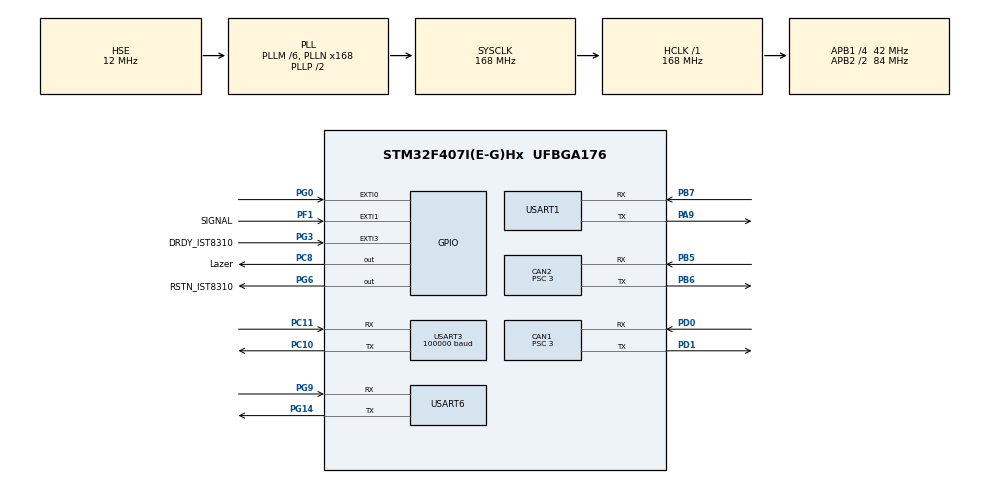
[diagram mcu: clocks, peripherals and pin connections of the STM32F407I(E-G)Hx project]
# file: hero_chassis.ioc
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CAN1.BS1=CAN_BS1_10TQ
CAN1.BS2=CAN_BS2_3TQ
CAN1.CalculateBaudRate=1000000
CAN1.CalculateTimeBit=1000
CAN1.CalculateTimeQuantum=71.42857142857143
CAN1.Prescaler=3
CAN1.TXFP=DISABLE
CAN2.BS1=CAN_BS1_10TQ
CAN2.BS2=CAN_BS2_3TQ
CAN2.CalculateBaudRate=1000000
CAN2.CalculateTimeBit=1000
CAN2.CalculateTimeQuantum=71.42857142857143
CAN2.Prescaler=3
CAN2.TXFP=DISABLE
Dma.Request0=USART1_TX
Dma.Request1=USART3_RX
Dma.Request2=USART1_RX
Dma.Request3=USART6_RX
Dma.Request4=USART6_TX
Dma.USART1_RX.2.Direction=DMA_PERIPH_TO_MEMORY
Dma.USART1_RX.2.FIFOMode=DMA_FIFOMODE_DISABLE
Dma.USART1_RX.2.Instance=DMA2_Stream5
Dma.USART1_RX.2.MemDataAlignment=DMA_MDATAALIGN_BYTE
Dma.USART1_RX.2.MemInc=DMA_MINC_ENABLE
Dma.USART1_RX.2.Mode=DMA_CIRCULAR
Dma.USART1_RX.2.PeriphDataAlignment=DMA_PDATAALIGN_BYTE
Dma.USART1_RX.2.PeriphInc=DMA_PINC_DISABLE
Dma.USART1_RX.2.Priority=DMA_PRIORITY_HIGH
Dma.USART1_TX.0.Direction=DMA_MEMORY_TO_PERIPH
Dma.USART1_TX.0.FIFOMode=DMA_FIFOMODE_DISABLE
Dma.USART1_TX.0.Instance=DMA2_Stream7
Dma.USART1_TX.0.MemDataAlignment=DMA_MDATAALIGN_BYTE
Dma.USART1_TX.0.MemInc=DMA_MINC_ENABLE
Dma.USART1_TX.0.Mode=DMA_NORMAL
Dma.USART1_TX.0.PeriphDataAlignment=DMA_PDATAALIGN_BYTE
Dma.USART1_TX.0.PeriphInc=DMA_PINC_DISABLE
Dma.USART1_TX.0.Priority=DMA_PRIORITY_HIGH
Dma.USART3_RX.1.Direction=DMA_PERIPH_TO_MEMORY
Dma.USART3_RX.1.FIFOMode=DMA_FIFOMODE_DISABLE
Dma.USART3_RX.1.Instance=DMA1_Stream1
Dma.USART3_RX.1.MemDataAlignment=DMA_MDATAALIGN_BYTE
Dma.USART3_RX.1.MemInc=DMA_MINC_ENABLE
Dma.USART3_RX.1.Mode=DMA_CIRCULAR
Dma.USART3_RX.1.PeriphDataAlignment=DMA_PDATAALIGN_BYTE
Dma.USART3_RX.1.PeriphInc=DMA_PINC_DISABLE
Dma.USART3_RX.1.Priority=DMA_PRIORITY_HIGH
Dma.USART6_RX.3.Direction=DMA_PERIPH_TO_MEMORY
Dma.USART6_RX.3.FIFOMode=DMA_FIFOMODE_DISABLE
Dma.USART6_RX.3.Instance=DMA2_Stream1
Dma.USART6_RX.3.MemDataAlignment=DMA_MDATAALIGN_BYTE
Dma.USART6_RX.3.MemInc=DMA_MINC_ENABLE
Dma.USART6_RX.3.Mode=DMA_NORMAL
Dma.USART6_RX.3.PeriphDataAlignment=DMA_PDATAALIGN_BYTE
Dma.USART6_RX.3.PeriphInc=DMA_PINC_DISABLE
Dma.USART6_RX.3.Priority=DMA_PRIORITY_HIGH
Dma.USART6_TX.4.Direction=DMA_MEMORY_TO_PERIPH
Dma.USART6_TX.4.FIFOMode=DMA_FIFOMODE_DISABLE
Dma.USART6_TX.4.Instance=DMA2_Stream6
Dma.USART6_TX.4.MemDataAlignment=DMA_MDATAALIGN_BYTE
Dma.USART6_TX.4.MemInc=DMA_MINC_ENABLE
Dma.USART6_TX.4.Mode=DMA_NORMAL
Dma.USART6_TX.4.PeriphDataAlignment=DMA_PDATAALIGN_BYTE
Dma.USART6_TX.4.PeriphInc=DMA_PINC_DISABLE
Dma.USART6_TX.4.Priority=DMA_PRIORITY_MEDIUM
FREERTOS.INCLUDE_eTaskGetState=1
FREERTOS.INCLUDE_pcTaskGetTaskName=1
FREERTOS.INCLUDE_uxTaskGetStackHighWaterMark=1
FREERTOS.INCLUDE_vTaskCleanUpResources=1
FREERTOS.INCLUDE_vTaskDelayUntil=1
FREERTOS.INCLUDE_xEventGroupSetBitFromISR=1
FREERTOS.INCLUDE_xQueueGetMutexHolder=1
FREERTOS.INCLUDE_xSemaphoreGetMutexHolder=1
FREERTOS.INCLUDE_xTaskAbortDelay=1
FREERTOS.INCLUDE_xTaskGetCurrentTaskHandle=1
FREERTOS.INCLUDE_xTaskGetHandle=1
FREERTOS.INCLUDE_xTimerPendFunctionCall=1
FREERTOS.Tasks01=test,0,128,test_task,As weak,NULL,Dynamic,NULL,NULL;ShowRunningTask,3,128,ShowRunningFun,As weak,NULL,Dynamic,NULL,NULL;ChassisTask,2,128,ChassisFun,As weak,NULL,Dynamic,NULL,NULL;OutControlTask,1,128,OutControlFun,As weak,NULL,Dynamic,NULL,NULL;GimbalTask,2,128,GimbalFun,As weak,NULL,Dynamic,NULL,NULL;ShootTask,2,128,ShootFun,As weak,NULL,Dynamic,NULL,NULL;Info_Transmit,2,1024,Info_Transmit_task,As weak,NULL,Dynamic,NULL,NULL
FREERTOS.configTOTAL_HEAP_SIZE=24576
Mcu.Family=STM32F4
Mcu.Name=STM32F407I(E-G)Hx
Mcu.Package=UFBGA176
NVIC.CAN1_RX0_IRQn=true\:5\:0\:false\:false\:true\:true\:true\:true\:true
NVIC.CAN2_RX0_IRQn=true\:5\:0\:false\:false\:true\:true\:true\:true\:true
NVIC.DMA1_Stream1_IRQn=true\:5\:0\:false\:false\:true\:true\:false\:true\:true
NVIC.DMA2_Stream1_IRQn=true\:5\:0\:false\:false\:true\:true\:false\:true\:true
NVIC.DMA2_Stream5_IRQn=true\:5\:0\:false\:false\:true\:true\:false\:true\:true
NVIC.DMA2_Stream6_IRQn=true\:5\:0\:false\:false\:true\:true\:false\:true\:true
NVIC.DMA2_Stream7_IRQn=true\:5\:0\:false\:false\:true\:true\:false\:true\:true
NVIC.EXTI0_IRQn=true\:6\:0\:true\:false\:true\:true\:true\:true\:true
NVIC.EXTI1_IRQn=true\:5\:0\:false\:false\:true\:true\:true\:true\:true
NVIC.EXTI3_IRQn=true\:5\:0\:true\:false\:true\:true\:true\:true\:true
NVIC.PriorityGroup=NVIC_PRIORITYGROUP_4
NVIC.TIM1_UP_TIM10_IRQn=true\:0\:0\:false\:false\:true\:false\:false\:true\:true
NVIC.TIM6_DAC_IRQn=true\:5\:0\:false\:false\:true\:true\:true\:true\:true
NVIC.TimeBase=TIM1_UP_TIM10_IRQn
NVIC.TimeBaseIP=TIM1
NVIC.USART1_IRQn=true\:5\:0\:false\:false\:true\:true\:true\:true\:true
NVIC.USART3_IRQn=true\:5\:0\:false\:false\:true\:true\:true\:true\:true
NVIC.USART6_IRQn=true\:5\:0\:false\:false\:true\:true\:true\:true\:true
PA13.Mode=Serial_Wire
PA13.Signal=SYS_JTMS-SWDIO
PA14.Mode=Serial_Wire
PA14.Signal=SYS_JTCK-SWCLK
PA6.Signal=ADCx_IN6
PA7.GPIO_PuPd=GPIO_PULLUP
PA7.Signal=SPI1_MOSI
PA8.GPIO_Pu=GPIO_PULLUP
PA8.Signal=I2C3_SCL
PA9.Mode=Asynchronous
PA9.Signal=USART1_TX
PB3.Signal=SPI1_SCK
PB4.Signal=SPI1_MISO
PB5.Mode=CAN_Activate
PB5.Signal=CAN2_RX
PB6.Mode=CAN_Activate
PB6.Signal=CAN2_TX
PB7.Mode=Asynchronous
PB7.Signal=USART1_RX
PC10.Mode=Asynchronous
PC10.Signal=USART3_TX
PC11.Mode=Asynchronous
PC11.Signal=USART3_RX
PC6.Signal=S_TIM8_CH1
PC8.GPIO_Label=Lazer
PC8.PinState=GPIO_PIN_SET
PC8.Signal=GPIO_Output
PC9.GPIO_Pu=GPIO_PULLUP
PC9.Signal=I2C3_SDA
PD0.Mode=CAN_Activate
PD0.Signal=CAN1_RX
PD1.Mode=CAN_Activate
PD1.Signal=CAN1_TX
PF1.GPIO_Label=SIGNAL
PF1.Signal=GPXTI1
PF10.Signal=ADC3_IN8
PF6.GPIO_PuPd=GPIO_PULLUP
PF6.GPIO_Speed=GPIO_SPEED_FREQ_HIGH
PF6.Signal=S_TIM10_CH1
PG0.GPIO_ModeDefaultEXTI=GPIO_MODE_IT_FALLING
PG0.GPIO_PuPd=GPIO_PULLUP
PG0.Signal=GPXTI0
PG14.Mode=Asynchronous
PG14.Signal=USART6_TX
PG3.GPIO_Label=DRDY_IST8310
PG3.GPIO_ModeDefaultEXTI=GPIO_MODE_IT_FALLING
PG3.GPIO_PuPd=GPIO_PULLUP
PG3.Signal=GPXTI3
PG6.GPIO_Label=RSTN_IST8310
PG6.GPIO_PuPd=GPIO_PULLUP
PG6.GPIO_Speed=GPIO_SPEED_FREQ_MEDIUM
PG6.PinState=GPIO_PIN_SET
PG6.Signal=GPIO_Output
PG9.Mode=Asynchronous
PG9.Signal=USART6_RX
PH0-OSC_IN.Mode=HSE-External-Oscillator
PH0-OSC_IN.Signal=RCC_OSC_IN
PH1-OSC_OUT.Mode=HSE-External-Oscillator
PH1-OSC_OUT.Signal=RCC_OSC_OUT
PH10.GPIO_Label=LED_B
PH10.GPIO_PuPd=GPIO_PULLUP
PH10.GPIO_Speed=GPIO_SPEED_FREQ_HIGH
PH10.Signal=S_TIM5_CH1
PH11.GPIO_Label=LED_G
PH11.GPIO_PuPd=GPIO_PULLUP
PH11.GPIO_Speed=GPIO_SPEED_FREQ_HIGH
PH11.Signal=S_TIM5_CH2
PH12.GPIO_Label=LED_R
PH12.GPIO_PuPd=GPIO_PULLUP
PH12.GPIO_Speed=GPIO_SPEED_FREQ_HIGH
PH12.Signal=S_TIM5_CH3
PI6.Signal=S_TIM8_CH2
PI7.Signal=S_TIM8_CH3
ProjectManager.HeapSize=0x2000
ProjectManager.StackSize=0x2000
ProjectManager.TargetToolchain=MDK-ARM V5
RCC.48MHZClocksFreq_Value=48000000
RCC.AHBFreq_Value=168000000
RCC.APB1CLKDivider=RCC_HCLK_DIV4
RCC.APB1Freq_Value=42000000
RCC.APB1TimFreq_Value=84000000
RCC.APB2CLKDivider=RCC_HCLK_DIV2
RCC.APB2Freq_Value=84000000
RCC.APB2TimFreq_Value=168000000
RCC.CortexFreq_Value=168000000
RCC.EnbaleCSS=true
RCC.HCLKFreq_Value=168000000
RCC.HSE_VALUE=12000000
RCC.HSI_VALUE=16000000
RCC.LSE_VALUE=32768
RCC.PLLM=6
RCC.PLLN=168
RCC.PLLQ=7
RCC.PLLSourceVirtual=RCC_PLLSOURCE_HSE
RCC.RCC_RTC_Clock_SourceVirtual=RCC_RTCCLKSOURCE_HSE_DIV30
RCC.RCC_RTC_Clock_Source_FROM_HSE=RCC_RTCCLKSOURCE_HSE_DIV30
RCC.SYSCLKFreq_VALUE=168000000
RCC.SYSCLKSource=RCC_SYSCLKSOURCE_PLLCLK
RCC.VCOOutputFreq_Value=336000000
SH.ADCx_IN6.0=ADC1_IN6
SH.S_TIM10_CH1.0=TIM10_CH1
SH.S_TIM5_CH1.0=TIM5_CH1
SH.S_TIM5_CH2.0=TIM5_CH2
SH.S_TIM5_CH3.0=TIM5_CH3
SH.S_TIM8_CH1.0=TIM8_CH1
SH.S_TIM8_CH2.0=TIM8_CH2
SH.S_TIM8_CH3.0=TIM8_CH3
TIM6.AutoReloadPreload=TIM_AUTORELOAD_PRELOAD_ENABLE
TIM6.Period=2499
TIM6.Prescaler=671
USART1.VirtualMode=VM_ASYNC
USART3.BaudRate=100000
USART3.Parity=PARITY_EVEN
USART3.VirtualMode=VM_ASYNC
USART3.WordLength=WORDLENGTH_9B
USART6.VirtualMode=VM_ASYNC
VP_CRC_VS_CRC.Mode=CRC_Activate
VP_FREERTOS_VS_CMSIS_V1.Mode=CMSIS_V1
VP_SYS_VS_tim1.Mode=TIM1
VP_TIM6_VS_ClockSourceINT.Mode=Enable_Timer
board=custom

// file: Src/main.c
/* USER CODE BEGIN Header */
/**
  ******************************************************************************
  * @file           : main.c
  * @brief          : Main program body
  ******************************************************************************
  * @attention
  *
  * <h2><center>&copy; Copyright (c) 2019 STMicroelectronics.
  * All rights reserved.</center></h2>
  *
  * This software component is licensed by ST under Ultimate Liberty license
  * SLA0044, the "License"; You may not use this file except in compliance with
  * the License. You may obtain a copy of the License at:
  *                             www.st.com/SLA0044
  *
  ******************************************************************************
  */
/* USER CODE END Header */
#include "main.h"
#include "cmsis_os.h"
#include "can.h"
#include "crc.h"
#include "dma.h"
#include "tim.h"
#include "usart.h"
#include "gpio.h"

/* USER CODE BEGIN Includes */
#include "bsp_delay.h"
#include "SQ_judge.h"
#include "tuxin.h"
#include "pls.h"
#include "Motor_DM.h"

/* USER CODE END Includes */

void SystemClock_Config(void);
void MX_FREERTOS_Init(void);

int main(void)
{

  /* MCU Configuration--------------------------------------------------------*/

  /* Reset of all peripherals, Initializes the Flash interface and the Systick. */
  HAL_Init();

  /* Configure the system clock */
  SystemClock_Config();

  /* Initialize all configured peripherals */
  MX_GPIO_Init();
  MX_DMA_Init();
  MX_CAN1_Init();
  MX_CAN2_Init();
  MX_USART1_UART_Init();
  MX_USART3_UART_Init();
  MX_TIM6_Init();
  MX_CRC_Init();
  MX_USART6_UART_Init();
  /* USER CODE BEGIN 2 */
  delay_init();
  SYSTEM_InitPeripheral();
  /* USER CODE END 2 */

  /* Call init function for freertos objects (in freertos.c) */
  MX_FREERTOS_Init();

  /* Start scheduler */
  osKernelStart();

  /* We should never get here as control is now taken by the scheduler */
  /* Infinite loop */
    while (1)
    {

    }
}

void SystemClock_Config(void)
{
  RCC_OscInitTypeDef RCC_OscInitStruct = {0};
  RCC_ClkInitTypeDef RCC_ClkInitStruct = {0};

  /** Configure the main internal regulator output voltage
  */
  __HAL_RCC_PWR_CLK_ENABLE();
  __HAL_PWR_VOLTAGESCALING_CONFIG(PWR_REGULATOR_VOLTAGE_SCALE1);

  /** Initializes the RCC Oscillators according to the specified parameters
  * in the RCC_OscInitTypeDef structure.
  */
  RCC_OscInitStruct.OscillatorType = RCC_OSCILLATORTYPE_HSE;
  RCC_OscInitStruct.HSEState = RCC_HSE_ON;
  RCC_OscInitStruct.PLL.PLLState = RCC_PLL_ON;
  RCC_OscInitStruct.PLL.PLLSource = RCC_PLLSOURCE_HSE;
  RCC_OscInitStruct.PLL.PLLM = 6;
  RCC_OscInitStruct.PLL.PLLN = 168;
  RCC_OscInitStruct.PLL.PLLP = RCC_PLLP_DIV2;
  RCC_OscInitStruct.PLL.PLLQ = 7;
  if (HAL_RCC_OscConfig(&RCC_OscInitStruct) != HAL_OK)
  {
    Error_Handler();
  }

  /** Initializes the CPU, AHB and APB buses clocks
  */
  RCC_ClkInitStruct.ClockType = RCC_CLOCKTYPE_HCLK|RCC_CLOCKTYPE_SYSCLK
                              |RCC_CLOCKTYPE_PCLK1|RCC_CLOCKTYPE_PCLK2;
  RCC_ClkInitStruct.SYSCLKSource = RCC_SYSCLKSOURCE_PLLCLK;
  RCC_ClkInitStruct.AHBCLKDivider = RCC_SYSCLK_DIV1;
  RCC_ClkInitStruct.APB1CLKDivider = RCC_HCLK_DIV4;
  RCC_ClkInitStruct.APB2CLKDivider = RCC_HCLK_DIV2;

  if (HAL_RCC_ClockConfig(&RCC_ClkInitStruct, FLASH_LATENCY_5) != HAL_OK)
  {
    Error_Handler();
  }

  /** Enables the Clock Security System
  */
  HAL_RCC_EnableCSS();
}

/* USER CODE BEGIN 4 */
/**
  * @brief  初始化外设函数
  * @param  void
  * @retval void
  * @attention
  */
void SYSTEM_InitPeripheral(void)
{
    dbus_uart_init();//遥控器初始化

    //打开can1，用于电机的控制
    my_can_filter_init_recv_all(&hcan1);
    my_can_filter1_init_recv_all(&hcan1);
    HAL_CAN_Start(&hcan1);
    HAL_CAN_ActivateNotification(&hcan1, CAN_IT_RX_FIFO0_MSG_PENDING);
    HAL_CAN_ActivateNotification(&hcan1, CAN_IT_RX_FIFO1_MSG_PENDING);

    //打开can2，用于通信
    my_can_filter_init_recv_all(&hcan2);
    HAL_CAN_Start(&hcan2);
    HAL_CAN_ActivateNotification(&hcan2, CAN_IT_RX_FIFO0_MSG_PENDING);

//dma数据读取裁判系统
//    __HAL_UART_ENABLE_IT(&huart1, UART_IT_IDLE);//使能idle中断,用于裁判系统读取
//    HAL_UART_Receive_DMA(&huart1, judge_rx_buff, 2000); //打开DMA接收，数据存入rx_buffer_judge数组中。

		fifo_s_init(&Referee_FIFO, Referee_FIFO_Buffer, REFEREE_FIFO_BUF_LENGTH);
		Referee_StructInit();
		Referee_UARTInit(Referee_Buffer[0], Referee_Buffer[1], REFEREE_USART_RX_BUF_LENGHT);

	  HAL_TIM_Base_Start_IT(&htim6);//启动定时器中断6
	  gimbal_hanging = GIMBAL_HORIZON;

	  cap_init();  //电容初始化
}
uint16_t frequent_count;
/* USER CODE END 4 */

void HAL_TIM_PeriodElapsedCallback(TIM_HandleTypeDef *htim)
{
  if (htim->Instance == TIM1) {
    HAL_IncTick();
  }
  /* USER CODE BEGIN Callback 1 */
	if(htim->Instance == TIM6)
	{
		if(frequent_count <50)
		{
			frequent_count++;
		}
		else
		{
			frequent_count = 0;
			Ammunition_Motor.motor_value->RX_MSG.RX_Frequent = Ammunition_Motor.motor_value->RX_MSG.RX_add;
			Ammunition_Motor.motor_value->RX_MSG.RX_add = 0;

			Ammunition_DM_Motor.motor_value->RX_MSG.RX_Frequent = Ammunition_DM_Motor.motor_value->RX_MSG.RX_add;
			Ammunition_DM_Motor.motor_value->RX_MSG.RX_add = 0;

			Chassis_Motor[0].motor_value->RX_MSG.RX_Frequent = Chassis_Motor[0].motor_value->RX_MSG.RX_add;
			Chassis_Motor[0].motor_value->RX_MSG.RX_add = 0;

			Chassis_Motor[1].motor_value->RX_MSG.RX_Frequent = Chassis_Motor[1].motor_value->RX_MSG.RX_add;
			Chassis_Motor[1].motor_value->RX_MSG.RX_add = 0;

			Chassis_Motor[2].motor_value->RX_MSG.RX_Frequent = Chassis_Motor[2].motor_value->RX_MSG.RX_add;
			Chassis_Motor[2].motor_value->RX_MSG.RX_add = 0;

			Chassis_Motor[3].motor_value->RX_MSG.RX_Frequent = Chassis_Motor[3].motor_value->RX_MSG.RX_add;
			Chassis_Motor[3].motor_value->RX_MSG.RX_add = 0;

			Gimbal_MotorImuYaw.motor_value->RX_MSG.RX_Frequent = Gimbal_MotorImuYaw.motor_value->RX_MSG.RX_add;
			Gimbal_MotorImuYaw.motor_value->RX_MSG.RX_add = 0;

			CAN2_RXTEST.RX_Frequent=CAN2_RXTEST.RX_add;
			CAN2_RXTEST.RX_add=0;
//			HAL_GPIO_TogglePin(GPIOC,GPIO_PIN_1);
		}
		set_rc_ch(&hcan2, rc.ch1, rc.ch2, rc.ch3, rc.ch4);
		set_rc_mouse(&hcan2, rc.mouse.x, rc.mouse.y, rc.mouse.x, rc.mouse.press_l, rc.mouse.press_r);
		set_rc_key(&hcan2, rc.sw1, rc.sw2, rc.key.v, rc.wheel,state_judge);
//		servo_control();
//		HAL_GPIO_TogglePin(GPIOB,GPIO_PIN_12);
	}
  /* USER CODE END Callback 1 */
}

void Error_Handler(void)
{
}

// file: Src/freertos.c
/* USER CODE BEGIN Header */
/**
  ******************************************************************************
  * File Name          : freertos.c
  * Description        : Code for freertos applications
  ******************************************************************************
  * @attention
  *
  * <h2><center>&copy; Copyright (c) 2019 STMicroelectronics.
  * All rights reserved.</center></h2>
  *
  * This software component is licensed by ST under Ultimate Liberty license
  * SLA0044, the "License"; You may not use this file except in compliance with
  * the License. You may obtain a copy of the License at:
  *                             www.st.com/SLA0044
  *
  ******************************************************************************
  */
/* USER CODE END Header */

#include "FreeRTOS.h"
#include "task.h"
#include "main.h"
#include "cmsis_os.h"

/* USER CODE BEGIN Includes */

#include "INS_task.h"
#include "Info_Transmit_task.h"

/* USER CODE END Includes */

/* USER CODE BEGIN PTD */
osThreadId Info_Transmit_handle;
/* USER CODE END PTD */

osThreadId testHandle;
osThreadId ShowRunningTaskHandle;
osThreadId ChassisTaskHandle;
osThreadId OutControlTaskHandle;
osThreadId GimbalTaskHandle;
osThreadId ShootTaskHandle;
osThreadId Info_TransmitHandle;

void test_task(void const * argument);
void ShowRunningFun(void const * argument);
void ChassisFun(void const * argument);
void OutControlFun(void const * argument);
void GimbalFun(void const * argument);
void ShootFun(void const * argument);
void Info_Transmit_task(void const * argument);

void MX_FREERTOS_Init(void); /* (MISRA C 2004 rule 8.1) */

/* GetIdleTaskMemory prototype (linked to static allocation support) */
void vApplicationGetIdleTaskMemory( StaticTask_t **ppxIdleTaskTCBBuffer, StackType_t **ppxIdleTaskStackBuffer, uint32_t *pulIdleTaskStackSize );

/* GetTimerTaskMemory prototype (linked to static allocation support) */
void vApplicationGetTimerTaskMemory( StaticTask_t **ppxTimerTaskTCBBuffer, StackType_t **ppxTimerTaskStackBuffer, uint32_t *pulTimerTaskStackSize );

/* USER CODE BEGIN GET_IDLE_TASK_MEMORY */
static StaticTask_t xIdleTaskTCBBuffer;
static StackType_t xIdleStack[configMINIMAL_STACK_SIZE];

void vApplicationGetIdleTaskMemory( StaticTask_t **ppxIdleTaskTCBBuffer, StackType_t **ppxIdleTaskStackBuffer, uint32_t *pulIdleTaskStackSize )
{
  *ppxIdleTaskTCBBuffer = &xIdleTaskTCBBuffer;
  *ppxIdleTaskStackBuffer = &xIdleStack[0];
  *pulIdleTaskStackSize = configMINIMAL_STACK_SIZE;
  /* place for user code */
}
/* USER CODE END GET_IDLE_TASK_MEMORY */

/* USER CODE BEGIN GET_TIMER_TASK_MEMORY */
static StaticTask_t xTimerTaskTCBBuffer;
static StackType_t xTimerStack[configTIMER_TASK_STACK_DEPTH];

void vApplicationGetTimerTaskMemory( StaticTask_t **ppxTimerTaskTCBBuffer, StackType_t **ppxTimerTaskStackBuffer, uint32_t *pulTimerTaskStackSize )
{
  *ppxTimerTaskTCBBuffer = &xTimerTaskTCBBuffer;
  *ppxTimerTaskStackBuffer = &xTimerStack[0];
  *pulTimerTaskStackSize = configTIMER_TASK_STACK_DEPTH;
  /* place for user code */
}
/* USER CODE END GET_TIMER_TASK_MEMORY */

void MX_FREERTOS_Init(void) {

  /* Create the thread(s) */
  /* definition and creation of test */
  osThreadDef(test, test_task, osPriorityNormal, 0, 128);
  testHandle = osThreadCreate(osThread(test), NULL);

  /* definition and creation of ShowRunningTask */
  osThreadDef(ShowRunningTask, ShowRunningFun, osPriorityRealtime, 0, 128);
  ShowRunningTaskHandle = osThreadCreate(osThread(ShowRunningTask), NULL);

  /* definition and creation of ChassisTask */
  osThreadDef(ChassisTask, ChassisFun, osPriorityHigh, 0, 128);
  ChassisTaskHandle = osThreadCreate(osThread(ChassisTask), NULL);

  /* definition and creation of OutControlTask */
  osThreadDef(OutControlTask, OutControlFun, osPriorityAboveNormal, 0, 128);
  OutControlTaskHandle = osThreadCreate(osThread(OutControlTask), NULL);

  /* definition and creation of GimbalTask */
  osThreadDef(GimbalTask, GimbalFun, osPriorityHigh, 0, 128);
  GimbalTaskHandle = osThreadCreate(osThread(GimbalTask), NULL);

  /* definition and creation of ShootTask */
  osThreadDef(ShootTask, ShootFun, osPriorityHigh, 0, 128);
  ShootTaskHandle = osThreadCreate(osThread(ShootTask), NULL);

  /* definition and creation of Info_Transmit */
  osThreadDef(Info_Transmit, Info_Transmit_task, osPriorityHigh, 0, 1024);
  Info_TransmitHandle = osThreadCreate(osThread(Info_Transmit), NULL);

  /* USER CODE BEGIN RTOS_THREADS */
  /* add threads, ... */
//    osThreadDef(Info_Transmit, Info_Transmit_task, osPriorityHigh, 0, 1024);
//    Info_Transmit_handle = osThreadCreate(osThread(Info_Transmit), NULL);
  /* USER CODE END RTOS_THREADS */

}

__weak void test_task(void const * argument)
{
  for(;;)
  {
    osDelay(1);
  }
}

__weak void ShowRunningFun(void const * argument)
{
  for(;;)
  {
    osDelay(1);
  }
}

__weak void ChassisFun(void const * argument)
{
  for(;;)
  {
    osDelay(1);
  }
}

__weak void OutControlFun(void const * argument)
{
  for(;;)
  {
    osDelay(1);
  }
}

__weak void GimbalFun(void const * argument)
{
  for(;;)
  {
    osDelay(1);
  }
}

__weak void ShootFun(void const * argument)
{
  for(;;)
  {
    osDelay(1);
  }
}

__weak void Info_Transmit_task(void const * argument)
{
  for(;;)
  {
    osDelay(1);
  }
}
